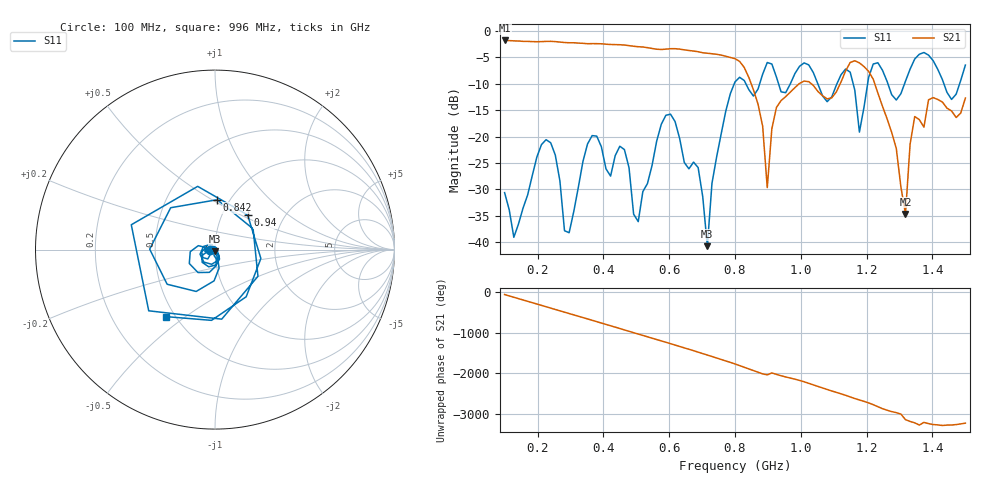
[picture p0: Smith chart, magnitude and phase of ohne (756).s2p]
! NanoVNA-App
! Date: 2025-09-25 14:26:41
! Start: 100MHz Stop: 1,5GHz Points: 101
! S-Parameter data: F S11 S21 S12 S22
# Hz S RI R 50
!  Frequency  S11_Real  S11_Imag  S21_Real  S21_Imag  S12_Real  S12_Imag  S22_Real  S22_Imag
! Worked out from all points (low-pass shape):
!   101 points, 100 MHz to 1.5 GHz, reference 50 ohm
!   highest |S21| = -1.79 dB at 100 MHz (marker M1); lowest = -34.7 dB at 1.318 GHz (marker M2)
!   |S21| within 3 dB of the highest: start of sweep to 772.5 MHz
!   lowest |S11| = -40.8 dB at 716 MHz (marker M3), VSWR 1.02, Z = 49.7 - j0.872 ohm
!   |S11| at or under -10 dB: start of sweep to 797.8 MHz; 833 MHz to 875 MHz (41.98 MHz wide, 4.92 % of centre); 1.052 GHz to 1.11 GHz (58.18 MHz wide, 5.38 % of centre) (the widest 3 of 7)
!   S12 and S22 are empty: the file has one direction only
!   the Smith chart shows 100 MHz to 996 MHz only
!   S11 on the Smith chart (normalised r, x): 100 MHz: 0.94, -0.01; 842 MHz: 0.88, +0.53; 940 MHz: 1.32, +0.55; 996 MHz: 0.45, -0.42
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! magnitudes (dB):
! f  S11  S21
! 100 MHz  -30.6  -1.8
! 128 MHz  -39.1  -1.9
! 226 MHz  -20.6  -2.0
! 296 MHz  -38.2  -2.2
! 338 MHz  -24.7  -2.3
! 464 MHz  -22.5  -2.7
! 506 MHz  -36.1  -3.0
! 576 MHz  -17.7  -3.5
! 688 MHz  -25.9  -3.9
! 716 MHz  -40.8  -4.2
! 800 MHz  -9.7  -5.2
! 842 MHz  -11.1  -8.8
! 898 MHz  -6.0  -29.7
! 940 MHz  -11.5  -13.2
! 996 MHz  -6.7  -9.9
! 1.038 GHz  -7.9  -10.3
! 1.178 GHz  -19.2  -6.0
! 1.22 GHz  -6.3  -9.1
! 1.276 GHz  -12.1  -19.2
! 1.318 GHz  -9.5  -34.7
! 1.346 GHz  -5.3  -16.2
! 1.5 GHz  -6.5  -12.7
